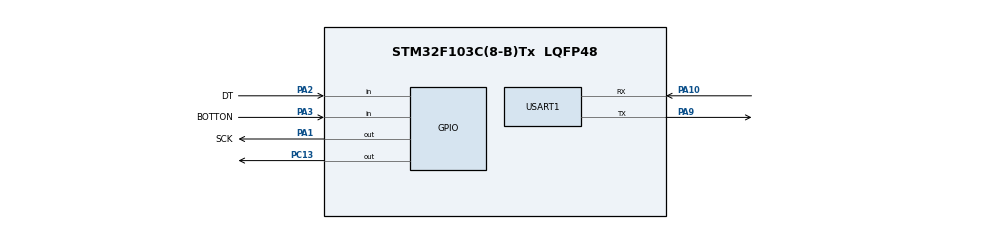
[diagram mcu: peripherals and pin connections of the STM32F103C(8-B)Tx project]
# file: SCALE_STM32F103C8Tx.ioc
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Mcu.Family=STM32F1
Mcu.Name=STM32F103C(8-B)Tx
Mcu.Package=LQFP48
NVIC.PriorityGroup=NVIC_PRIORITYGROUP_4
PA1.GPIO_Label=SCK
PA1.GPIO_PuPd=GPIO_PULLUP
PA1.Signal=GPIO_Output
PA10.Mode=Asynchronous
PA10.Signal=USART1_RX
PA2.GPIO_Label=DT
PA2.GPIO_PuPd=GPIO_PULLUP
PA2.Signal=GPIO_Input
PA3.GPIO_Label=BOTTON
PA3.GPIO_PuPd=GPIO_PULLUP
PA3.Signal=GPIO_Input
PA9.Mode=Asynchronous
PA9.Signal=USART1_TX
PC13-TAMPER-RTC.GPIO_PuPd=GPIO_PULLDOWN
PC13-TAMPER-RTC.Signal=GPIO_Output
ProjectManager.HeapSize=0x200
ProjectManager.StackSize=0x400
ProjectManager.TargetToolchain=MDK-ARM V4
RCC.APB1Freq_Value=8000000
RCC.APB2Freq_Value=8000000
USART1.VirtualMode=VM_ASYNC
VP_SYS_VS_ND.Mode=No_Debug
board=custom

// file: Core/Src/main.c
/* USER CODE BEGIN Header */
/**
  ******************************************************************************
  * @file           : main.c
  * @brief          : Main program body
  ******************************************************************************
  * @attention
  *
  * Copyright (c) 2022 STMicroelectronics.
  * All rights reserved.
  *
  * This software is licensed under terms that can be found in the LICENSE file
  * in the root directory of this software component.
  * If no LICENSE file comes with this software, it is provided AS-IS.
  *
  ******************************************************************************
  */
/* USER CODE END Header */
#include "main.h"
#include "hx711.h"
#include <math.h>

/* USER CODE BEGIN PTD */
uint16_t Rx[1];
int rData = 0, cds=0;
uint32_t offset = 0;
double a = 0, w, weight= 0, filter = 230, beta = 0.5;
/* USER CODE END PTD */

UART_HandleTypeDef huart1;

void SystemClock_Config(void);
static void MX_GPIO_Init(void);
static void MX_USART1_UART_Init(void);

int main(void)
{
  /* USER CODE BEGIN 1 */
	HX711 H;
	H.PD_SCK_PinType = SCK_GPIO_Port;
	H.PD_SCK_PinNumber = SCK_Pin; //PA1
	H.DOUT_PinType = DT_GPIO_Port;
	H.DOUT_PinNumber = DT_Pin; //PA2, BOTTON la PA3
	H.offset = 0;
	H.mode = 0;
  /* USER CODE END 1 */

  /* MCU Configuration--------------------------------------------------------*/

  /* Reset of all peripherals, Initializes the Flash interface and the Systick. */
  HAL_Init();
	MX_USART1_UART_Init();

  /* Configure the system clock */
  SystemClock_Config();

  /* Initialize all configured peripherals */
  MX_GPIO_Init();
  MX_USART1_UART_Init();
  /* USER CODE BEGIN 2 */
	HAL_UART_Receive_IT(&huart1, (uint8_t *)Rx, sizeof(Rx));
	HX711_Tare(&H, 5); // Doc offset, khi chua dat gi len can
	while(HAL_GPIO_ReadPin(GPIOA, BOTTON_Pin)==0); // Dat vat co khoi luong da biet truoc roi an nut de thoat vong lap (truong hop nay la 230g)
	rData = HX711_GetAvgValue(&H,50); //Doc gia tri ADC da tru offset
	a = (double)230/rData ; // Tinh he so chuyen tu gia tri doc duoc tu ADC sang khoi luong (g)
  /* USER CODE END 2 */

  /* Infinite loop */
  while (1)
  {

    /* USER CODE BEGIN 3 */
		rData = HX711_GetValue(&H);
		w = a*rData;
		//filter = filter - beta*(filter - w);
		weight = round(w);
		HAL_Delay(100);
		HAL_GPIO_TogglePin(GPIOC, GPIO_PIN_13);
  }
  /* USER CODE END 3 */
}

void SystemClock_Config(void)
{
  RCC_OscInitTypeDef RCC_OscInitStruct = {0};
  RCC_ClkInitTypeDef RCC_ClkInitStruct = {0};

  /** Initializes the RCC Oscillators according to the specified parameters
  * in the RCC_OscInitTypeDef structure.
  */
  RCC_OscInitStruct.OscillatorType = RCC_OSCILLATORTYPE_HSI;
  RCC_OscInitStruct.HSIState = RCC_HSI_ON;
  RCC_OscInitStruct.HSICalibrationValue = RCC_HSICALIBRATION_DEFAULT;
  RCC_OscInitStruct.PLL.PLLState = RCC_PLL_NONE;
  if (HAL_RCC_OscConfig(&RCC_OscInitStruct) != HAL_OK)
  {
    Error_Handler();
  }

  /** Initializes the CPU, AHB and APB buses clocks
  */
  RCC_ClkInitStruct.ClockType = RCC_CLOCKTYPE_HCLK|RCC_CLOCKTYPE_SYSCLK
                              |RCC_CLOCKTYPE_PCLK1|RCC_CLOCKTYPE_PCLK2;
  RCC_ClkInitStruct.SYSCLKSource = RCC_SYSCLKSOURCE_HSI;
  RCC_ClkInitStruct.AHBCLKDivider = RCC_SYSCLK_DIV1;
  RCC_ClkInitStruct.APB1CLKDivider = RCC_HCLK_DIV1;
  RCC_ClkInitStruct.APB2CLKDivider = RCC_HCLK_DIV1;

  if (HAL_RCC_ClockConfig(&RCC_ClkInitStruct, FLASH_LATENCY_0) != HAL_OK)
  {
    Error_Handler();
  }
}

static void MX_USART1_UART_Init(void)
{

  huart1.Instance = USART1;
  huart1.Init.BaudRate = 115200;
  huart1.Init.WordLength = UART_WORDLENGTH_8B;
  huart1.Init.StopBits = UART_STOPBITS_1;
  huart1.Init.Parity = UART_PARITY_NONE;
  huart1.Init.Mode = UART_MODE_TX_RX;
  huart1.Init.HwFlowCtl = UART_HWCONTROL_NONE;
  huart1.Init.OverSampling = UART_OVERSAMPLING_16;
  if (HAL_UART_Init(&huart1) != HAL_OK)
  {
    Error_Handler();
  }

}

static void MX_GPIO_Init(void)
{
  GPIO_InitTypeDef GPIO_InitStruct = {0};

  /* GPIO Ports Clock Enable */
  __HAL_RCC_GPIOC_CLK_ENABLE();
  __HAL_RCC_GPIOA_CLK_ENABLE();

  /*Configure GPIO pin Output Level */
  HAL_GPIO_WritePin(GPIOC, GPIO_PIN_13, GPIO_PIN_RESET);

  /*Configure GPIO pin Output Level */
  HAL_GPIO_WritePin(SCK_GPIO_Port, SCK_Pin, GPIO_PIN_RESET);

  /*Configure GPIO pin : PC13 */
  GPIO_InitStruct.Pin = GPIO_PIN_13;
  GPIO_InitStruct.Mode = GPIO_MODE_OUTPUT_PP;
  GPIO_InitStruct.Pull = GPIO_PULLDOWN;
  GPIO_InitStruct.Speed = GPIO_SPEED_FREQ_LOW;
  HAL_GPIO_Init(GPIOC, &GPIO_InitStruct);

  /*Configure GPIO pin : SCK_Pin */
  GPIO_InitStruct.Pin = SCK_Pin;
  GPIO_InitStruct.Mode = GPIO_MODE_OUTPUT_PP;
  GPIO_InitStruct.Pull = GPIO_PULLUP;
  GPIO_InitStruct.Speed = GPIO_SPEED_FREQ_LOW;
  HAL_GPIO_Init(SCK_GPIO_Port, &GPIO_InitStruct);

  /*Configure GPIO pins : DT_Pin BOTTON_Pin */
  GPIO_InitStruct.Pin = DT_Pin|BOTTON_Pin;
  GPIO_InitStruct.Mode = GPIO_MODE_INPUT;
  GPIO_InitStruct.Pull = GPIO_PULLUP;
  HAL_GPIO_Init(GPIOA, &GPIO_InitStruct);

}

/* USER CODE BEGIN 4 */
void HAL_UART_RxCpltCallback(UART_HandleTypeDef *huart){
	HAL_GPIO_TogglePin(GPIOC, GPIO_PIN_13);
	if(huart->Instance == huart1.Instance){
		Rx[0] = (uint16_t)weight;
		HAL_UART_Receive_IT(&huart1, (uint8_t *)Rx, sizeof(Rx));
  }
}
/* USER CODE END 4 */

void Error_Handler(void)
{
  __disable_irq();
  while (1)
  {
  }
}
